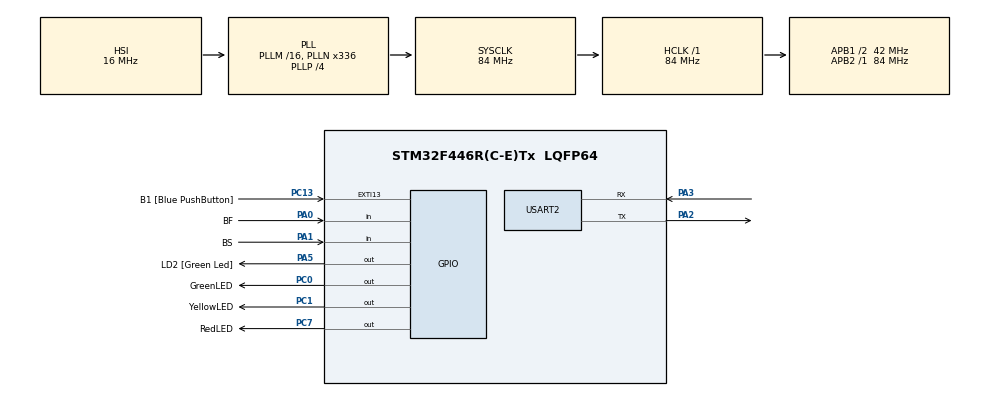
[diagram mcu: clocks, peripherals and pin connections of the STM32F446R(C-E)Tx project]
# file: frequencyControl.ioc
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Mcu.Family=STM32F4
Mcu.Name=STM32F446R(C-E)Tx
Mcu.Package=LQFP64
Mcu.UserConstants=PSC_1040Hz,(269-1);ARR,(300-1)
NVIC.PriorityGroup=NVIC_PRIORITYGROUP_0
NVIC.TIM1_UP_TIM10_IRQn=true\:0\:0\:false\:false\:true\:true\:true\:true
NVIC.USART2_IRQn=true\:0\:0\:false\:false\:true\:true\:true\:true
PA0-WKUP.GPIO_Label=BF
PA0-WKUP.GPIO_PuPd=GPIO_PULLDOWN
PA0-WKUP.Signal=GPIO_Input
PA1.GPIO_Label=BS
PA1.GPIO_PuPd=GPIO_PULLDOWN
PA1.Signal=GPIO_Input
PA13.GPIO_Label=TMS
PA13.Mode=Serial_Wire
PA13.Signal=SYS_JTMS-SWDIO
PA14.GPIO_Label=TCK
PA14.Mode=Serial_Wire
PA14.Signal=SYS_JTCK-SWCLK
PA2.GPIO_ModeDefaultPP=GPIO_MODE_AF_PP
PA2.GPIO_PuPd=GPIO_NOPULL
PA2.GPIO_Speed=GPIO_SPEED_FREQ_VERY_HIGH
PA2.Mode=Asynchronous
PA2.Signal=USART2_TX
PA3.GPIO_ModeDefaultPP=GPIO_MODE_AF_PP
PA3.GPIO_PuPd=GPIO_NOPULL
PA3.GPIO_Speed=GPIO_SPEED_FREQ_VERY_HIGH
PA3.Mode=Asynchronous
PA3.Signal=USART2_RX
PA5.GPIO_Label=LD2 [Green Led]
PA5.Signal=GPIO_Output
PB3.GPIO_Label=SWO
PB3.Signal=SYS_JTDO-SWO
PC0.GPIO_Label=GreenLED
PC0.Signal=GPIO_Output
PC1.GPIO_Label=YellowLED
PC1.Signal=GPIO_Output
PC13.GPIO_Label=B1 [Blue PushButton]
PC13.GPIO_ModeDefaultEXTI=GPIO_MODE_IT_FALLING
PC13.Signal=GPXTI13
PC14-OSC32_IN.Mode=LSE-External-Oscillator
PC14-OSC32_IN.Signal=RCC_OSC32_IN
PC15-OSC32_OUT.Mode=LSE-External-Oscillator
PC15-OSC32_OUT.Signal=RCC_OSC32_OUT
PC7.GPIO_Label=RedLED
PC7.Signal=GPIO_Output
PH0-OSC_IN.Mode=HSE-External-Oscillator
PH0-OSC_IN.Signal=RCC_OSC_IN
PH1-OSC_OUT.Mode=HSE-External-Oscillator
PH1-OSC_OUT.Signal=RCC_OSC_OUT
ProjectManager.HeapSize=0x200
ProjectManager.StackSize=0x400
ProjectManager.TargetToolchain=STM32CubeIDE
RCC.48MHZClocksFreq_Value=84000000
RCC.AHBFreq_Value=84000000
RCC.APB1CLKDivider=RCC_HCLK_DIV2
RCC.APB1Freq_Value=42000000
RCC.APB1TimFreq_Value=84000000
RCC.APB2Freq_Value=84000000
RCC.APB2TimFreq_Value=84000000
RCC.CortexFreq_Value=84000000
RCC.FLatency-AdvancedSettings=FLASH_LATENCY_2
RCC.HCLKFreq_Value=84000000
RCC.HSE_VALUE=8000000
RCC.HSI_VALUE=16000000
RCC.PLLN=336
RCC.PLLP=RCC_PLLP_DIV4
RCC.SYSCLKFreq_VALUE=84000000
RCC.SYSCLKSource=RCC_SYSCLKSOURCE_PLLCLK
RCC.USBFreq_Value=168000000
RCC.VCOOutputFreq_Value=336000000
TIM10.AutoReloadPreload=TIM_AUTORELOAD_PRELOAD_ENABLE
TIM10.Period=ARR
TIM10.Prescaler=PSC_1040Hz
USART2.VirtualMode=VM_ASYNC
VP_TIM10_VS_ClockSourceINT.Mode=Enable_Timer
board=NUCLEO-F446RE

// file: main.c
/* USER CODE BEGIN Header */
/**
  ******************************************************************************
  * @file           : main.c
  * @brief          : Main program body
  ******************************************************************************
  * @attention
  *
  * Copyright (c) 2025 STMicroelectronics.
  * All rights reserved.
  *
  * This software is licensed under terms that can be found in the LICENSE file
  * in the root directory of this software component.
  * If no LICENSE file comes with this software, it is provided AS-IS.
  *
  ******************************************************************************
  */
/* USER CODE END Header */
#include "main.h"

/* USER CODE BEGIN PTD */

/*
 	Each LED has a corresponding struct with its counter, kickoff (decreasing counter start
	value) which is the key to set the LEDs frequency, pin to which it's connected and a name
	string for the UI on the serial terminal.
*/
typedef struct {
	int counter;
	int kickoff;
	uint16_t pin;
	char name[9];
} LEDTimer_t;

/*
	TIM11 was set to 1041Hz, so T = 960,7us
	For the amount of pulses to obtain a desired toggle period, divide it by 960,7us

	16Hz LED -> 32Hz toggle period -> kickoff = 32
	13Hz LED -> 26Hz toggle period -> kickoff = 40
	5Hz LED -> 10Hz toggle period -> kickoff = 104
	2Hz LED -> 4Hz toggle period -> kickoff = 260
 */

/* USER CODE END PTD */

TIM_HandleTypeDef htim10;

UART_HandleTypeDef huart2;

/* USER CODE BEGIN PV */
int ctrl=0, BS_index = 0;	//Control value and index of the LEDTimer array (for LED selection):
char ctrl_char = ctrl + '0';  //printable control variable
char rx_data[2];	//Rx string
LEDTimer_t LEDTimer[3];	//Red is 0, Yellow is 1 and Green is 2 (I miss Python dicts :(

char ctrlUpdateMsg[] = {"\n\rControle = "};
char selectLEDUpdateMsg[] = {"\n\rLED selecionado = "};
char invalidLEDSelectionMsg[] = {"\n\rLED invalido"};
char invalidFrequencySelectionMsg[] = {"\n\rFrequencia invalida"};
char newLine[] = {"\n\r"};
/* USER CODE END PV */

void SystemClock_Config(void);
static void MX_GPIO_Init(void);
static void MX_USART2_UART_Init(void);
static void MX_TIM10_Init(void);
/* USER CODE BEGIN PFP */
void HAL_UART_RxCpltCallback(UART_HandleTypeDef *huart);
void HAL_TIM_PeriodElapsedCallback(TIM_HandleTypeDef *htim);
void setColourNames();
int BFIsPressed();
int BSIsPressed();
int toKickoff(int control);
/* USER CODE END PFP */

int main(void)
{

  /* USER CODE BEGIN 1 */
	//initialize all LEDs as deactivated
	for(int i=0; i<3; i++){
		LEDTimer[i].counter = -1;
		LEDTimer[i].kickoff = -1;
	}

	//set each colour to its pin
	LEDTimer[0].pin = RedLED_Pin;
	LEDTimer[1].pin = YellowLED_Pin;
	LEDTimer[2].pin = GreenLED_Pin;

	setColourNames();	//set colour names (bruh)
  /* USER CODE END 1 */

  /* MCU Configuration--------------------------------------------------------*/

  /* Reset of all peripherals, Initializes the Flash interface and the Systick. */
  HAL_Init();

  /* Configure the system clock */
  SystemClock_Config();

  /* Initialize all configured peripherals */
  MX_GPIO_Init();
  MX_USART2_UART_Init();
  MX_TIM10_Init();
  /* USER CODE BEGIN 2 */
  HAL_TIM_Base_Start_IT(&htim10);
  HAL_UART_Receive_IT(&huart2, &rx_data, 2);

  //print initial state
  HAL_UART_Transmit(&huart2, (uint8_t*)ctrlUpdateMsg, strlen(ctrlUpdateMsg), HAL_MAX_DELAY);
  HAL_UART_Transmit(&huart2, &ctrl_char, 1, HAL_MAX_DELAY);
  HAL_UART_Transmit(&huart2, (uint8_t*)selectLEDUpdateMsg, strlen(selectLEDUpdateMsg), HAL_MAX_DELAY);
  HAL_UART_Transmit(&huart2, (uint8_t*)LEDTimer[BS_index].name, strlen(LEDTimer[BS_index].name), HAL_MAX_DELAY);
  /* USER CODE END 2 */

  /* Infinite loop */
  /* USER CODE BEGIN WHILE */
  while (1)
  {
	  if(BFIsPressed()){
		  ctrl++;
		  if(ctrl>4)	ctrl = 0;
		  ctrl_char = ctrl + '0';

		  //print new ctrl value
		  HAL_UART_Transmit(&huart2, (uint8_t*)ctrlUpdateMsg, strlen(ctrlUpdateMsg), HAL_MAX_DELAY);
		  HAL_UART_Transmit(&huart2, &ctrl_char, 1, HAL_MAX_DELAY);

		  LEDTimer[BS_index].kickoff = toKickoff(ctrl);				//update kickoff value
		  LEDTimer[BS_index].counter = LEDTimer[BS_index].kickoff;	//reset counter
	  }

	  if(BSIsPressed()){
		  BS_index++;
		  if(BS_index>2)	BS_index = 0;

		  //print new selected LED
		  HAL_UART_Transmit(&huart2, (uint8_t*)selectLEDUpdateMsg, strlen(selectLEDUpdateMsg), HAL_MAX_DELAY);
		  HAL_UART_Transmit(&huart2, (uint8_t*)LEDTimer[BS_index].name, strlen(LEDTimer[BS_index].name), HAL_MAX_DELAY);
	  }
    /* USER CODE END WHILE */

  }
}

void SystemClock_Config(void)
{
  RCC_OscInitTypeDef RCC_OscInitStruct = {0};
  RCC_ClkInitTypeDef RCC_ClkInitStruct = {0};

  /** Configure the main internal regulator output voltage
  */
  __HAL_RCC_PWR_CLK_ENABLE();
  __HAL_PWR_VOLTAGESCALING_CONFIG(PWR_REGULATOR_VOLTAGE_SCALE3);

  /** Initializes the RCC Oscillators according to the specified parameters
  * in the RCC_OscInitTypeDef structure.
  */
  RCC_OscInitStruct.OscillatorType = RCC_OSCILLATORTYPE_HSI;
  RCC_OscInitStruct.HSIState = RCC_HSI_ON;
  RCC_OscInitStruct.HSICalibrationValue = RCC_HSICALIBRATION_DEFAULT;
  RCC_OscInitStruct.PLL.PLLState = RCC_PLL_ON;
  RCC_OscInitStruct.PLL.PLLSource = RCC_PLLSOURCE_HSI;
  RCC_OscInitStruct.PLL.PLLM = 16;
  RCC_OscInitStruct.PLL.PLLN = 336;
  RCC_OscInitStruct.PLL.PLLP = RCC_PLLP_DIV4;
  RCC_OscInitStruct.PLL.PLLQ = 2;
  RCC_OscInitStruct.PLL.PLLR = 2;
  if (HAL_RCC_OscConfig(&RCC_OscInitStruct) != HAL_OK)
  {
    Error_Handler();
  }

  /** Initializes the CPU, AHB and APB buses clocks
  */
  RCC_ClkInitStruct.ClockType = RCC_CLOCKTYPE_HCLK|RCC_CLOCKTYPE_SYSCLK
                              |RCC_CLOCKTYPE_PCLK1|RCC_CLOCKTYPE_PCLK2;
  RCC_ClkInitStruct.SYSCLKSource = RCC_SYSCLKSOURCE_PLLCLK;
  RCC_ClkInitStruct.AHBCLKDivider = RCC_SYSCLK_DIV1;
  RCC_ClkInitStruct.APB1CLKDivider = RCC_HCLK_DIV2;
  RCC_ClkInitStruct.APB2CLKDivider = RCC_HCLK_DIV1;

  if (HAL_RCC_ClockConfig(&RCC_ClkInitStruct, FLASH_LATENCY_2) != HAL_OK)
  {
    Error_Handler();
  }
}

static void MX_TIM10_Init(void)
{

  htim10.Instance = TIM10;
  htim10.Init.Prescaler = PSC_1040Hz;
  htim10.Init.CounterMode = TIM_COUNTERMODE_UP;
  htim10.Init.Period = ARR;
  htim10.Init.ClockDivision = TIM_CLOCKDIVISION_DIV1;
  htim10.Init.AutoReloadPreload = TIM_AUTORELOAD_PRELOAD_ENABLE;
  if (HAL_TIM_Base_Init(&htim10) != HAL_OK)
  {
    Error_Handler();
  }

}

static void MX_USART2_UART_Init(void)
{

  huart2.Instance = USART2;
  huart2.Init.BaudRate = 115200;
  huart2.Init.WordLength = UART_WORDLENGTH_8B;
  huart2.Init.StopBits = UART_STOPBITS_1;
  huart2.Init.Parity = UART_PARITY_NONE;
  huart2.Init.Mode = UART_MODE_TX_RX;
  huart2.Init.HwFlowCtl = UART_HWCONTROL_NONE;
  huart2.Init.OverSampling = UART_OVERSAMPLING_16;
  if (HAL_UART_Init(&huart2) != HAL_OK)
  {
    Error_Handler();
  }

}

static void MX_GPIO_Init(void)
{
  GPIO_InitTypeDef GPIO_InitStruct = {0};

  /* GPIO Ports Clock Enable */
  __HAL_RCC_GPIOC_CLK_ENABLE();
  __HAL_RCC_GPIOH_CLK_ENABLE();
  __HAL_RCC_GPIOA_CLK_ENABLE();
  __HAL_RCC_GPIOB_CLK_ENABLE();

  /*Configure GPIO pin Output Level */
  HAL_GPIO_WritePin(GPIOC, GreenLED_Pin|YellowLED_Pin|RedLED_Pin, GPIO_PIN_RESET);

  /*Configure GPIO pin Output Level */
  HAL_GPIO_WritePin(LD2_GPIO_Port, LD2_Pin, GPIO_PIN_RESET);

  /*Configure GPIO pin : B1_Pin */
  GPIO_InitStruct.Pin = B1_Pin;
  GPIO_InitStruct.Mode = GPIO_MODE_IT_FALLING;
  GPIO_InitStruct.Pull = GPIO_NOPULL;
  HAL_GPIO_Init(B1_GPIO_Port, &GPIO_InitStruct);

  /*Configure GPIO pins : GreenLED_Pin YellowLED_Pin RedLED_Pin */
  GPIO_InitStruct.Pin = GreenLED_Pin|YellowLED_Pin|RedLED_Pin;
  GPIO_InitStruct.Mode = GPIO_MODE_OUTPUT_PP;
  GPIO_InitStruct.Pull = GPIO_NOPULL;
  GPIO_InitStruct.Speed = GPIO_SPEED_FREQ_LOW;
  HAL_GPIO_Init(GPIOC, &GPIO_InitStruct);

  /*Configure GPIO pins : BF_Pin BS_Pin */
  GPIO_InitStruct.Pin = BF_Pin|BS_Pin;
  GPIO_InitStruct.Mode = GPIO_MODE_INPUT;
  GPIO_InitStruct.Pull = GPIO_PULLDOWN;
  HAL_GPIO_Init(GPIOA, &GPIO_InitStruct);

  /*Configure GPIO pin : LD2_Pin */
  GPIO_InitStruct.Pin = LD2_Pin;
  GPIO_InitStruct.Mode = GPIO_MODE_OUTPUT_PP;
  GPIO_InitStruct.Pull = GPIO_NOPULL;
  GPIO_InitStruct.Speed = GPIO_SPEED_FREQ_LOW;
  HAL_GPIO_Init(LD2_GPIO_Port, &GPIO_InitStruct);

}

/* USER CODE BEGIN 4 */
void HAL_UART_RxCpltCallback(UART_HandleTypeDef *huart){
	if (huart->Instance == USART2){
		//echo
		HAL_UART_Transmit(&huart2, (uint8_t*)newLine, strlen(newLine), HAL_MAX_DELAY);
		HAL_UART_Transmit(&huart2, (uint8_t*)rx_data, strlen(rx_data), HAL_MAX_DELAY);

		switch(rx_data[0]){
		case 'r':
			LEDTimer[0].kickoff = toKickoff((int)rx_data[1]);
			break;
		case 'y':
			LEDTimer[1].kickoff = toKickoff((int)rx_data[1]);
			break;
		case 'g':
			LEDTimer[2].kickoff = toKickoff((int)rx_data[1]);
			break;
		default:
			//transmit invalid LED message
			HAL_UART_Transmit(&huart2, (uint8_t*)invalidLEDSelectionMsg, strlen(invalidLEDSelectionMsg), HAL_MAX_DELAY);
			break;
		}

		HAL_UART_Receive_IT(&huart2, &rx_data, 2);	//restart reception of next bytes
	}
}

void HAL_TIM_PeriodElapsedCallback(TIM_HandleTypeDef *htim){
	if (htim->Instance == TIM10){
		for(int i=0; i<3; i++){
			//if LED is active
			if(LEDTimer[i].kickoff > -1){
				//decrement LED counter
				LEDTimer[i].counter--;
				//if the timer is complete, toggle pin and reset counter
				if(LEDTimer[i].counter<=0){
					LEDTimer[i].counter = LEDTimer[i].kickoff;
					HAL_GPIO_TogglePin(GPIOC, LEDTimer[i].pin);
				}
			}

			//turn off otherwise
			else	HAL_GPIO_WritePin(GPIOC, LEDTimer[i].pin, RESET);
		}
	}
}

int BFIsPressed(){
	int debounce = 1000;
	int return_value;

	//when BS be read as "SET" for 1000 times in a row, return that BS is pressed
	while(1){
		if(HAL_GPIO_ReadPin(GPIOA, BF_Pin)){
			debounce--;
		}
		else{
			return_value=0;
			break;
		}

		if(debounce==0){
			return_value = 1;
			break;
		}
	}

	while(HAL_GPIO_ReadPin(GPIOA, BF_Pin));	//wait release of the button to exit the function
	return return_value;
}

int BSIsPressed(){
	int debounce = 1000;
	int return_value;

	//when BS be read as "SET" for 1000 times in a row, return that BS is pressed
	while(1){
		if(HAL_GPIO_ReadPin(GPIOA, BS_Pin)){
			debounce--;
		}
		else{
			return_value=0;
			break;
		}

		if(debounce==0){
			return_value = 1;
			break;
		}
	}

	while(HAL_GPIO_ReadPin(GPIOA, BS_Pin));	//wait release of the button to exit the function
	return return_value;
}

int toKickoff(int control){
	int freq;

	//translate ctrl command to corresponding frequency
	switch(control){
	case 1:
		freq = 2;
		break;
	case 2:
		freq = 5;
		break;
	case 3:
		freq = 13;
		break;
	case 4:
		freq = 16;
		break;
	default:
		freq = -1;
		//transmit invalid frequency message
		HAL_UART_Transmit(&huart2, (uint8_t*)invalidFrequencySelectionMsg, strlen(invalidFrequencySelectionMsg), HAL_MAX_DELAY);
		break;
	}

	/*
	 Reminder:

	 16Hz LED -> 32Hz timer -> kickoff = 32
	 13Hz LED -> 26Hz timer -> kickoff = 40
	 5Hz LED -> 10Hz timer -> kickoff = 104
	 2Hz LED -> 4Hz timer -> kickoff = 260
	 */

	//translate frequency to the amount of clock pulses to toggle pin (kickoff)
	switch(freq){
	case 16:
		return 32;
	case 13:
		return 40;
	case 5:
		return 104;
	case 2:
		return 260;
	default:
		return -1;
	}
}

void setColourNames(){
	LEDTimer[0].name[0] = 'V';
	LEDTimer[0].name[1] = 'e';
	LEDTimer[0].name[2] = 'r';
	LEDTimer[0].name[3] = 'm';
	LEDTimer[0].name[4] = 'e';
	LEDTimer[0].name[5] = 'l';
	LEDTimer[0].name[6] = 'h';
	LEDTimer[0].name[7] = 'o';
	LEDTimer[0].name[8] = '\0';	//assign last character so "strlen()" knows the size of each colour name

	LEDTimer[1].name[0] = 'A';
	LEDTimer[1].name[1] = 'm';
	LEDTimer[1].name[2] = 'a';
	LEDTimer[1].name[3] = 'r';
	LEDTimer[1].name[4] = 'e';
	LEDTimer[1].name[5] = 'l';
	LEDTimer[1].name[6] = 'o';
	LEDTimer[1].name[7] = '\0';

	LEDTimer[2].name[0] = 'V';
	LEDTimer[2].name[1] = 'e';
	LEDTimer[2].name[2] = 'r';
	LEDTimer[2].name[3] = 'd';
	LEDTimer[2].name[4] = 'e';
	LEDTimer[2].name[5] = '\0';
}
/* USER CODE END 4 */

void Error_Handler(void)
{
  __disable_irq();
  while (1)
  {
  }
}
